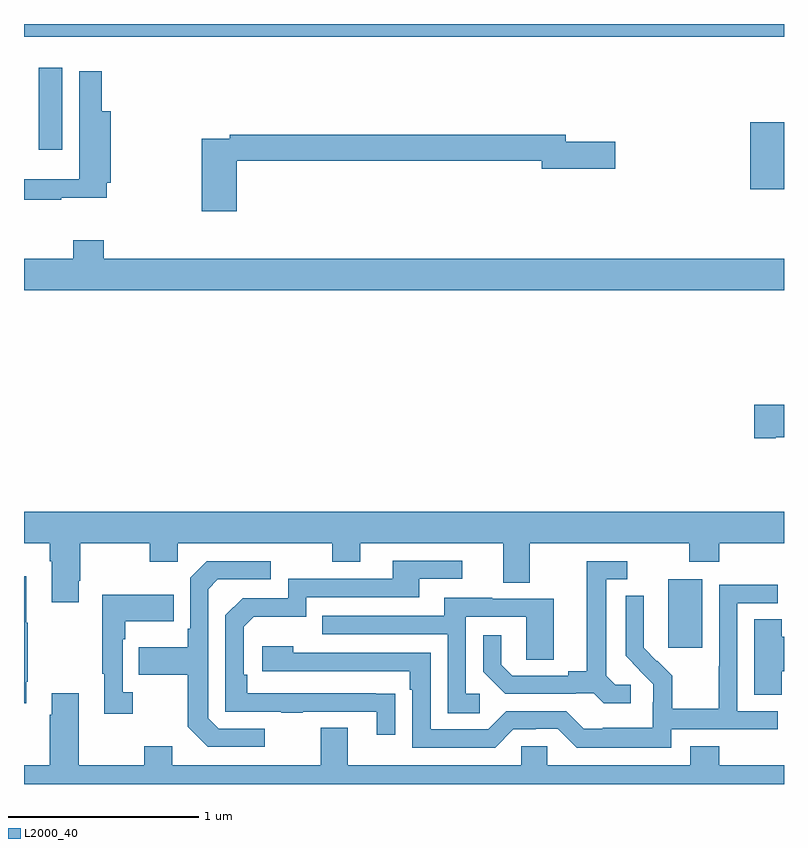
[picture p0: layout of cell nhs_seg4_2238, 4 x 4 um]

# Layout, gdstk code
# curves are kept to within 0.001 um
import gdstk
lib = gdstk.Library(unit=1e-6, precision=1e-09)
def R(c, l, rs):  # rectangles x0, y0, x1, y1
    for r in rs: c.add(gdstk.rectangle(r[:2], r[2:], *l))
def P(c, l, *ps):  # polygons
    for p in ps: c.add(gdstk.Polygon(p, *l))
L2000_40 = (2000, 40)

nhs_seg4_2238 = lib.new_cell('nhs_seg4_2238')
R(nhs_seg4_2238, L2000_40, [(230.39,781.617,230.569,781.978), (230.822,784.031,231,784.384), (227.078,784.239,227.2,784.669), (227,784.832,231,784.9)])
P(nhs_seg4_2238, L2000_40, [(227.195,783.985),(227.435,783.985),(227.435,784.065),(227.456,784.065),(227.456,784.441),(227.408,784.441),(227.408,784.651),(227.292,784.651),(227.292,784.084),(227.082,784.084),(227.082,784.083),(227,784.083),(227,783.975),(227.195,783.975)],
  [(228.119,784.18),(229.724,784.18),(229.724,784.138),(230.113,784.138),(230.113,784.28),(229.852,784.28),(229.852,784.316),(228.082,784.316),(228.082,784.296),(227.936,784.296),(227.936,783.915),(228.119,783.915)],
  [(231,783.664),(227.42,783.664),(227.42,783.763),(227.26,783.763),(227.26,783.664),(227,783.664),(227,783.5),(231,783.5)],
  [(230.956,782.726),(231,782.726),(231,782.897),(230.844,782.897),(230.844,782.719),(230.956,782.719)],
  [(227.287,781.969),(227.295,781.969),(227.295,782.168),(227.662,782.168),(227.662,782.069),(227.808,782.069),(227.808,782.168),(228.622,782.168),(228.622,782.069),(228.769,782.069),(228.769,782.168),(229.523,782.168),(229.523,781.96),(229.663,781.96),(229.663,782.168),(230.5,782.168),(230.5,782.069),(230.66,782.069),(230.66,782.168),(231,782.168),(231,782.332),(227,782.332),(227,782.168),(227.135,782.168),(227.135,782.072),(227.147,782.072),(227.147,781.857),(227.287,781.857)],
  [(228.953,781.376),(228.176,781.377),(228.176,781.474),(228.156,781.474),(228.156,781.728),(228.209,781.781),(228.486,781.781),(228.486,781.884),(229.081,781.884),(229.081,781.98),(229.306,781.98),(229.306,782.076),(228.941,782.076),(228.941,781.98),(228.39,781.98),(228.39,781.878),(228.15,781.878),(228.06,781.788),(228.06,781.281),(228.355,781.281),(228.355,781.276),(228.467,781.276),(228.467,781.281),(228.857,781.281),(228.857,781.158),(228.953,781.158)],
  [(228.268,781.191),(228.024,781.191),(227.97,781.245),(227.97,781.926),(228.021,781.977),(228.298,781.977),(228.298,782.073),(227.961,782.073),(227.874,781.986),(227.874,781.717),(227.862,781.717),(227.862,781.621),(227.605,781.621),(227.605,781.474),(227.862,781.474),(227.862,781.201),(227.967,781.095),(228.268,781.095)],
  [(230.194,781.422),(230.112,781.422),(230.065,781.469),(230.065,781.977),(230.176,781.977),(230.176,782.073),(229.961,782.073),(229.961,781.493),(229.865,781.493),(229.865,781.47),(229.57,781.47),(229.513,781.527),(229.513,781.684),(229.416,781.684),(229.416,781.49),(229.532,781.374),(229.904,781.374),(229.904,781.377),(229.998,781.377),(230.05,781.325),(230.194,781.325)],
  [(227.011,781.438),(227.019,781.438),(227.019,781.749),(227.011,781.749),(227.011,781.993),(227,781.993),(227,781.326),(227.011,781.326)],
  [(230.406,781.188),(230.968,781.188),(230.968,781.284),(230.754,781.284),(230.754,781.851),(230.968,781.851),(230.968,781.95),(230.658,781.95),(230.658,781.52),(230.656,781.52),(230.656,781.297),(230.411,781.297),(230.411,781.471),(230.334,781.548),(230.331,781.545),(230.261,781.616),(230.262,781.892),(230.166,781.892),(230.166,781.574),(230.312,781.426),(230.312,781.329),(230.31,781.329),(230.31,781.195),(230.047,781.195),(230.047,781.191),(229.947,781.191),(229.854,781.284),(229.539,781.284),(229.443,781.188),(229.14,781.188),(229.14,781.59),(228.416,781.59),(228.416,781.624),(228.255,781.624),(228.255,781.494),(229.031,781.494),(229.031,781.397),(229.044,781.397),(229.044,781.092),(229.479,781.092),(229.575,781.188),(229.694,781.188),(229.694,781.191),(229.809,781.191),(229.909,781.091),(230.406,781.091)],
  [(227.572,781.382),(227.52,781.382),(227.52,781.661),(227.533,781.661),(227.533,781.757),(227.789,781.757),(227.789,781.897),(227.412,781.897),(227.412,781.481),(227.423,781.481),(227.423,781.269),(227.572,781.269)],
  [(229.399,781.374),(229.326,781.374),(229.326,781.779),(229.644,781.779),(229.644,781.555),(229.789,781.555),(229.789,781.875),(229.465,781.875),(229.465,781.879),(229.211,781.879),(229.211,781.785),(228.571,781.785),(228.571,781.689),(229.23,781.689),(229.23,781.273),(229.399,781.273)],
  [(230.987,781.493),(231,781.493),(231,781.676),(230.987,781.676),(230.987,781.766),(230.843,781.766),(230.843,781.369),(230.987,781.369)],
  [(231,781),(230.66,781),(230.66,781.099),(230.507,781.099),(230.507,781),(229.755,781),(229.755,781.098),(229.617,781.098),(229.617,781),(228.703,781),(228.703,781.195),(228.563,781.195),(228.563,781),(227.779,781),(227.779,781.099),(227.632,781.099),(227.632,781),(227.287,781),(227.287,781.378),(227.147,781.378),(227.147,781.265),(227.135,781.265),(227.135,781),(227,781),(227,780.9),(231,780.9)])

lib.write_gds('nhs_seg4_2238.gds')
